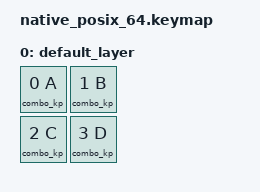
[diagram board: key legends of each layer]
#include <dt-bindings/zmk/keys.h>
#include <behaviors.dtsi>
#include <dt-bindings/zmk/kscan_mock.h>

/ {
    combos {
        compatible = "zmk,combos";
        combo_one {
            timeout-ms = <50>;
            triggers = <0 1>;
            bindings = <&kp X>;
            require-prior-idle-ms = <100>;
        };

        combo_two {
            timeout-ms = <50>;
            triggers = <0 2>;
            bindings = <&kp Y>;
        };
    };

    keymap {
        compatible = "zmk,keymap";

        default_layer {
            bindings = <
                &combo_kp 0 A &combo_kp 1 B
                &combo_kp 2 C &combo_kp 3 D
            >;
        };
    };
};

&kscan {
    events = <
        /* Tap A  */
        ZMK_MOCK_PRESS(0,0,10)
        ZMK_MOCK_RELEASE(0,0,60)
        /* Quick Tap A and B */
        ZMK_MOCK_PRESS(0,0,10)
        ZMK_MOCK_PRESS(0,1,10)
        ZMK_MOCK_RELEASE(0,0,10)
        ZMK_MOCK_RELEASE(0,1,200)
        /* Combo One */
        ZMK_MOCK_PRESS(0,0,10)
        ZMK_MOCK_PRESS(0,1,10)
        ZMK_MOCK_RELEASE(0,0,10)
        ZMK_MOCK_RELEASE(0,1,10)
        /* Combo One Again (shouldn't quick tap) */
        ZMK_MOCK_PRESS(0,0,10)
        ZMK_MOCK_PRESS(0,1,10)
        ZMK_MOCK_RELEASE(0,0,10)
        ZMK_MOCK_RELEASE(0,1,10)
        /* Tap A  */
        ZMK_MOCK_PRESS(0,0,10)
        ZMK_MOCK_RELEASE(0,0,60)
        /* Combo 2  */
        ZMK_MOCK_PRESS(0,0,10)
        ZMK_MOCK_PRESS(1,0,10)
        ZMK_MOCK_RELEASE(0,0,10)
        ZMK_MOCK_RELEASE(1,0,10)
    >;
};
